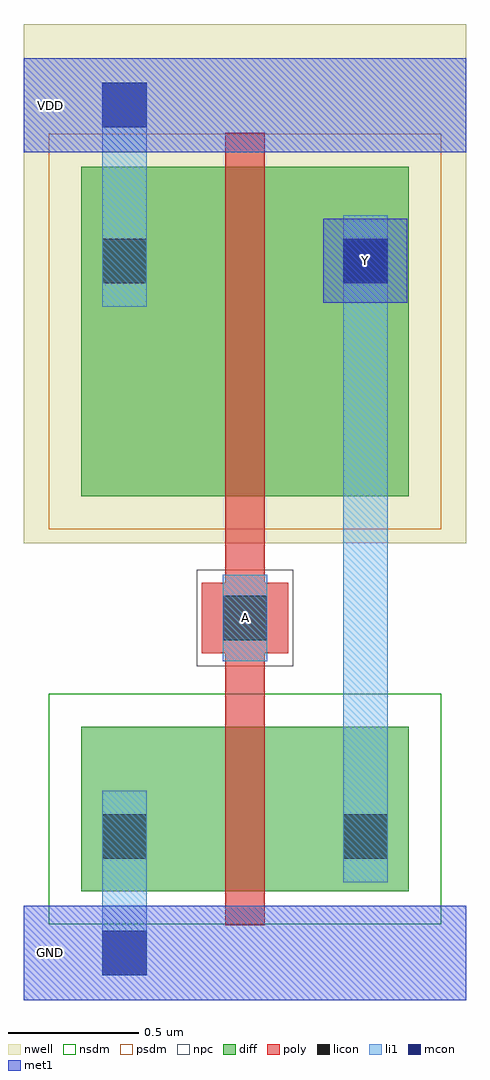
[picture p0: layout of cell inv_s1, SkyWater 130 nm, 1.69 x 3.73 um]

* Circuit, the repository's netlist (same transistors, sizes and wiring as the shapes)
* NGSPICE file created from inv_s1.ext - technology: sky130A

.subckt inv_s1 A Y VDD GND
X0 Y A GND VSUBS sky130_fd_pr__nfet_01v8 ad=0.3465 pd=2.36 as=0.3465 ps=2.36 w=0.63 l=0.15
X1 Y A VDD w_0_313# sky130_fd_pr__pfet_01v8 ad=0.693 pd=3.62 as=0.693 ps=3.62 w=1.26 l=0.15
.ends

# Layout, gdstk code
import gdstk
lib = gdstk.Library(unit=1e-6, precision=1e-09)
def R(c, l, rs):  # rectangles x0, y0, x1, y1
    for r in rs: c.add(gdstk.rectangle(r[:2], r[2:], *l))
nwell = (64, 20)
diff = (65, 20)
poly = (66, 20)
licon = (66, 44)
li1 = (67, 20)
mcon = (67, 44)
met1 = (68, 20)
nsdm = (93, 44)
psdm = (94, 20)
npc = (95, 20)

inv_s1 = lib.new_cell('inv_s1')
R(inv_s1, nwell, [(0,1.565,1.69,3.55)])
R(inv_s1, diff, [(0.22,0.235,1.47,0.865), (0.22,1.745,1.47,3.005)])
R(inv_s1, poly, [(0.77,0.105,0.92,1.145), (0.68,1.145,1.01,1.415), (0.77,1.415,0.92,3.135)])
R(inv_s1, licon, [(0.3,0.36,0.47,0.53), (1.22,0.36,1.39,0.53), (0.76,1.195,0.93,1.365), (0.3,2.56,0.47,2.73), (1.22,2.56,1.39,2.73)])
R(inv_s1, li1, [(0.3,-0.085,0.47,0.62), (1.22,0.27,1.39,2.82), (0.76,1.115,0.93,1.445), (0.3,2.47,0.47,3.325)])
R(inv_s1, mcon, [(0.3,-0.085,0.47,0.085), (1.22,2.56,1.39,2.73), (0.3,3.155,0.47,3.325)])
R(inv_s1, met1, [(0,-0.18,1.69,0.18), (1.145,2.485,1.465,2.805), (0,3.06,1.69,3.42)])
R(inv_s1, nsdm, [(0.095,0.11,1.595,0.99)])
R(inv_s1, psdm, [(0.095,1.62,1.595,3.13)])
R(inv_s1, npc, [(0.66,1.095,1.03,1.465)])
inv_s1.add(gdstk.Label('A', (0.845,1.28), layer=67, texttype=5))
inv_s1.add(gdstk.Label('Y', (1.305,2.645), layer=68, texttype=5))
inv_s1.add(gdstk.Label('VDD', (0.1,3.24), layer=68, texttype=5))
inv_s1.add(gdstk.Label('GND', (0.1,0), layer=68, texttype=5))

lib.write_gds('inv_s1.gds')
